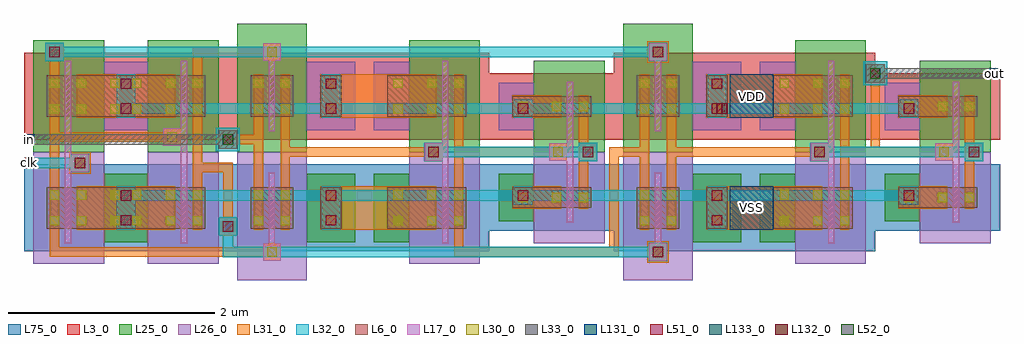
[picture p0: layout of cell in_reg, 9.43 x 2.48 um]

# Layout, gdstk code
from math import pi, radians
import gdstk
lib = gdstk.Library(unit=1e-6, precision=1e-09)
def R(c, l, rs):  # rectangles x0, y0, x1, y1
    for r in rs: c.add(gdstk.rectangle(r[:2], r[2:], *l))
L3_0 = (3, 0)
L6_0 = (6, 0)
L17_0 = (17, 0)
L25_0 = (25, 0)
L26_0 = (26, 0)
L30_0 = (30, 0)
L31_0 = (31, 0)
L32_0 = (32, 0)
L33_0 = (33, 0)
L51_0 = (51, 0)
L52_0 = (52, 0)
L75_0 = (75, 0)
L131_0 = (131, 0)
L132_0 = (132, 0)
L133_0 = (133, 0)

nch_cdns_683539849480 = lib.new_cell('nch_CDNS_683539849480')
R(nch_cdns_683539849480, L6_0, [(-0.53,0,-0.32,0.2), (-0.32,0,0,0.2), (0,0,0.06,0.2), (0.06,0,0.235,0.2)])
R(nch_cdns_683539849480, L17_0, [(0,-0.14,0.06,0), (0,0,0.06,0.2), (0,0.2,0.06,0.34)])
R(nch_cdns_683539849480, L25_0, [(-0.66,-0.13,-0.32,0.33)])
R(nch_cdns_683539849480, L26_0, [(-0.32,-0.34,0.365,0.54)])
R(nch_cdns_683539849480, L30_0, [(-0.47,0.055,-0.38,0.145), (-0.145,0.055,-0.055,0.145), (0.115,0.055,0.205,0.145)])
R(nch_cdns_683539849480, L31_0, [(-0.32,-0.01,-0.145,0.21), (-0.145,-0.01,-0.055,0.21), (0.115,-0.01,0.205,0.21)])
R(nch_cdns_683539849480, L75_0, [(-0.75,-0.22,0.455,0.42)])
nch_cdns_683539849480.add(gdstk.FlexPath([(-0.425,-0.01),(-0.425,0.21)], 0.21, ends="flush", simple_path=True, layer=31, datatype=0))  # L31_0
nch_cdns_683539849480.add(gdstk.Label('& SerialNumber 000000', (0,0), layer=63, texttype=63))
nch_cdns_683539849480.add(gdstk.Label('& Distributor TSMC', (0,0), layer=63, texttype=63))
nch_cdns_683539849480.add(gdstk.Label('& Metric 1', (0,0), layer=63, texttype=63))
nch_cdns_683539849480.add(gdstk.Label('& PDK TechNode "CRN65LP"', (0,0), layer=63, texttype=63))
nch_cdns_683539849480.add(gdstk.Label('& Product    tsmcN65_PDK', (0,0), layer=63, texttype=63))
nch_cdns_683539849480.add(gdstk.Label('& Vendor     Taiwan Semiconductor manufacturing Corp.', (0,0), layer=63, texttype=63))
nch_cdns_683539849480.add(gdstk.Label('[@instanceName]', (0.03,0.1), layer=127, texttype=0))
nch_cdns_683539849480.add(gdstk.Label('nch\n0.2/0.06\n', (0,0), layer=127, texttype=0))
nch_cdns_683539849480.add(gdstk.Label('B', (-0.425,0.1), layer=127, texttype=0))
nch_cdns_683539849480.add(gdstk.Label('D', (0.16,0.1), layer=127, texttype=0))
nch_cdns_683539849480.add(gdstk.Label('S', (-0.1,0.1), layer=127, texttype=0))

pch_cdns_683539849481 = lib.new_cell('pch_CDNS_683539849481')
R(pch_cdns_683539849481, L3_0, [(-0.75,-0.22,0.455,0.62)])
R(pch_cdns_683539849481, L6_0, [(-0.53,0,-0.32,0.4), (-0.32,0,0,0.4), (0,0,0.06,0.4), (0.06,0,0.235,0.4)])
R(pch_cdns_683539849481, L17_0, [(0,-0.14,0.06,0), (0,0,0.06,0.4), (0,0.4,0.06,0.54)])
R(pch_cdns_683539849481, L25_0, [(-0.32,-0.34,0.365,0.74)])
R(pch_cdns_683539849481, L26_0, [(-0.66,-0.13,-0.32,0.53)])
R(pch_cdns_683539849481, L30_0, [(-0.47,0.03,-0.38,0.12), (-0.145,0.03,-0.055,0.12), (0.115,0.03,0.205,0.12), (-0.47,0.28,-0.38,0.37), (-0.145,0.28,-0.055,0.37), (0.115,0.28,0.205,0.37)])
R(pch_cdns_683539849481, L31_0, [(-0.32,-0.01,-0.145,0.41), (-0.145,-0.01,-0.055,0.41), (0.115,-0.01,0.205,0.41)])
pch_cdns_683539849481.add(gdstk.FlexPath([(-0.425,-0.01),(-0.425,0.41)], 0.21, ends="flush", simple_path=True, layer=31, datatype=0))  # L31_0
pch_cdns_683539849481.add(gdstk.Label('& SerialNumber 000000', (0,0), layer=63, texttype=63))
pch_cdns_683539849481.add(gdstk.Label('& Distributor TSMC', (0,0), layer=63, texttype=63))
pch_cdns_683539849481.add(gdstk.Label('& Metric 1', (0,0), layer=63, texttype=63))
pch_cdns_683539849481.add(gdstk.Label('& PDK TechNode "CRN65LP"', (0,0), layer=63, texttype=63))
pch_cdns_683539849481.add(gdstk.Label('& Product    tsmcN65_PDK', (0,0), layer=63, texttype=63))
pch_cdns_683539849481.add(gdstk.Label('& Vendor     Taiwan Semiconductor manufacturing Corp.', (0,0), layer=63, texttype=63))
pch_cdns_683539849481.add(gdstk.Label('[@instanceName]', (0.03,0.2), layer=127, texttype=0))
pch_cdns_683539849481.add(gdstk.Label('pch\n0.4/0.06\n', (0,0), layer=127, texttype=0))
pch_cdns_683539849481.add(gdstk.Label('B', (-0.425,0.2), layer=127, texttype=0))
pch_cdns_683539849481.add(gdstk.Label('D', (0.16,0.2), layer=127, texttype=0))
pch_cdns_683539849481.add(gdstk.Label('S', (-0.1,0.2), layer=127, texttype=0))

nch_cdns_683539849482 = lib.new_cell('nch_CDNS_683539849482')
R(nch_cdns_683539849482, L6_0, [(-0.53,0,-0.32,0.4), (-0.32,0,0,0.4), (0,0,0.06,0.4), (0.06,0,0.235,0.4)])
R(nch_cdns_683539849482, L17_0, [(0,-0.14,0.06,0), (0,0,0.06,0.4), (0,0.4,0.06,0.54)])
R(nch_cdns_683539849482, L25_0, [(-0.66,-0.13,-0.32,0.53)])
R(nch_cdns_683539849482, L26_0, [(-0.32,-0.34,0.365,0.74)])
R(nch_cdns_683539849482, L30_0, [(-0.47,0.03,-0.38,0.12), (-0.145,0.03,-0.055,0.12), (0.115,0.03,0.205,0.12), (-0.47,0.28,-0.38,0.37), (-0.145,0.28,-0.055,0.37), (0.115,0.28,0.205,0.37)])
R(nch_cdns_683539849482, L31_0, [(-0.32,-0.01,-0.145,0.41), (-0.145,-0.01,-0.055,0.41), (0.115,-0.01,0.205,0.41)])
R(nch_cdns_683539849482, L75_0, [(-0.75,-0.22,0.455,0.62)])
nch_cdns_683539849482.add(gdstk.FlexPath([(-0.425,-0.01),(-0.425,0.41)], 0.21, ends="flush", simple_path=True, layer=31, datatype=0))  # L31_0
nch_cdns_683539849482.add(gdstk.Label('& SerialNumber 000000', (0,0), layer=63, texttype=63))
nch_cdns_683539849482.add(gdstk.Label('& Distributor TSMC', (0,0), layer=63, texttype=63))
nch_cdns_683539849482.add(gdstk.Label('& Metric 1', (0,0), layer=63, texttype=63))
nch_cdns_683539849482.add(gdstk.Label('& PDK TechNode "CRN65LP"', (0,0), layer=63, texttype=63))
nch_cdns_683539849482.add(gdstk.Label('& Product    tsmcN65_PDK', (0,0), layer=63, texttype=63))
nch_cdns_683539849482.add(gdstk.Label('& Vendor     Taiwan Semiconductor manufacturing Corp.', (0,0), layer=63, texttype=63))
nch_cdns_683539849482.add(gdstk.Label('[@instanceName]', (0.03,0.2), layer=127, texttype=0))
nch_cdns_683539849482.add(gdstk.Label('nch\n0.4/0.06\n', (0,0), layer=127, texttype=0))
nch_cdns_683539849482.add(gdstk.Label('B', (-0.425,0.2), layer=127, texttype=0))
nch_cdns_683539849482.add(gdstk.Label('D', (0.16,0.2), layer=127, texttype=0))
nch_cdns_683539849482.add(gdstk.Label('S', (-0.1,0.2), layer=127, texttype=0))

pch_cdns_683539849483 = lib.new_cell('pch_CDNS_683539849483')
R(pch_cdns_683539849483, L3_0, [(-0.75,-0.22,0.455,0.42)])
R(pch_cdns_683539849483, L6_0, [(-0.53,0,-0.32,0.2), (-0.32,0,0,0.2), (0,0,0.06,0.2), (0.06,0,0.235,0.2)])
R(pch_cdns_683539849483, L17_0, [(0,-0.14,0.06,0), (0,0,0.06,0.2), (0,0.2,0.06,0.34)])
R(pch_cdns_683539849483, L25_0, [(-0.32,-0.34,0.365,0.54)])
R(pch_cdns_683539849483, L26_0, [(-0.66,-0.13,-0.32,0.33)])
R(pch_cdns_683539849483, L30_0, [(-0.47,0.055,-0.38,0.145), (-0.145,0.055,-0.055,0.145), (0.115,0.055,0.205,0.145)])
R(pch_cdns_683539849483, L31_0, [(-0.32,-0.01,-0.145,0.21), (-0.145,-0.01,-0.055,0.21), (0.115,-0.01,0.205,0.21)])
pch_cdns_683539849483.add(gdstk.FlexPath([(-0.425,-0.01),(-0.425,0.21)], 0.21, ends="flush", simple_path=True, layer=31, datatype=0))  # L31_0
pch_cdns_683539849483.add(gdstk.Label('& SerialNumber 000000', (0,0), layer=63, texttype=63))
pch_cdns_683539849483.add(gdstk.Label('& Distributor TSMC', (0,0), layer=63, texttype=63))
pch_cdns_683539849483.add(gdstk.Label('& Metric 1', (0,0), layer=63, texttype=63))
pch_cdns_683539849483.add(gdstk.Label('& PDK TechNode "CRN65LP"', (0,0), layer=63, texttype=63))
pch_cdns_683539849483.add(gdstk.Label('& Product    tsmcN65_PDK', (0,0), layer=63, texttype=63))
pch_cdns_683539849483.add(gdstk.Label('& Vendor     Taiwan Semiconductor manufacturing Corp.', (0,0), layer=63, texttype=63))
pch_cdns_683539849483.add(gdstk.Label('[@instanceName]', (0.03,0.1), layer=127, texttype=0))
pch_cdns_683539849483.add(gdstk.Label('pch\n0.2/0.06\n', (0,0), layer=127, texttype=0))
pch_cdns_683539849483.add(gdstk.Label('B', (-0.425,0.1), layer=127, texttype=0))
pch_cdns_683539849483.add(gdstk.Label('D', (0.16,0.1), layer=127, texttype=0))
pch_cdns_683539849483.add(gdstk.Label('S', (-0.1,0.1), layer=127, texttype=0))

pch_cdns_683539849484 = lib.new_cell('pch_CDNS_683539849484')
R(pch_cdns_683539849484, L3_0, [(-0.865,-0.22,0.455,0.62)])
R(pch_cdns_683539849484, L6_0, [(-0.645,0,-0.435,0.4), (-0.175,0,0,0.4), (0,0,0.06,0.4), (0.06,0,0.235,0.4)])
R(pch_cdns_683539849484, L17_0, [(0,-0.14,0.06,0), (0,0,0.06,0.4), (0,0.4,0.06,0.54)])
R(pch_cdns_683539849484, L25_0, [(-0.305,-0.34,0.365,0.74)])
R(pch_cdns_683539849484, L26_0, [(-0.775,-0.13,-0.305,0.53)])
R(pch_cdns_683539849484, L30_0, [(-0.585,0.03,-0.495,0.12), (-0.145,0.03,-0.055,0.12), (0.115,0.03,0.205,0.12), (-0.585,0.28,-0.495,0.37), (-0.145,0.28,-0.055,0.37), (0.115,0.28,0.205,0.37)])
R(pch_cdns_683539849484, L31_0, [(-0.145,-0.01,-0.055,0.41), (0.115,-0.01,0.205,0.41)])
pch_cdns_683539849484.add(gdstk.FlexPath([(-0.54,-0.01),(-0.54,0.41)], 0.21, ends="flush", simple_path=True, layer=31, datatype=0))  # L31_0
pch_cdns_683539849484.add(gdstk.Label('& SerialNumber 000000', (0,0), layer=63, texttype=63))
pch_cdns_683539849484.add(gdstk.Label('& Distributor TSMC', (0,0), layer=63, texttype=63))
pch_cdns_683539849484.add(gdstk.Label('& Metric 1', (0,0), layer=63, texttype=63))
pch_cdns_683539849484.add(gdstk.Label('& PDK TechNode "CRN65LP"', (0,0), layer=63, texttype=63))
pch_cdns_683539849484.add(gdstk.Label('& Product    tsmcN65_PDK', (0,0), layer=63, texttype=63))
pch_cdns_683539849484.add(gdstk.Label('& Vendor     Taiwan Semiconductor manufacturing Corp.', (0,0), layer=63, texttype=63))
pch_cdns_683539849484.add(gdstk.Label('[@instanceName]', (0.03,0.2), layer=127, texttype=0))
pch_cdns_683539849484.add(gdstk.Label('pch\n0.4/0.06\n', (0,0), layer=127, texttype=0))
pch_cdns_683539849484.add(gdstk.Label('B', (-0.54,0.2), layer=127, texttype=0))
pch_cdns_683539849484.add(gdstk.Label('D', (0.16,0.2), layer=127, texttype=0))
pch_cdns_683539849484.add(gdstk.Label('S', (-0.1,0.2), layer=127, texttype=0))

nch_cdns_683539849485 = lib.new_cell('nch_CDNS_683539849485')
R(nch_cdns_683539849485, L6_0, [(-0.645,0,-0.435,0.4), (-0.175,0,0,0.4), (0,0,0.06,0.4), (0.06,0,0.235,0.4)])
R(nch_cdns_683539849485, L17_0, [(0,-0.14,0.06,0), (0,0,0.06,0.4), (0,0.4,0.06,0.54)])
R(nch_cdns_683539849485, L25_0, [(-0.775,-0.13,-0.305,0.53)])
R(nch_cdns_683539849485, L26_0, [(-0.305,-0.34,0.365,0.74)])
R(nch_cdns_683539849485, L30_0, [(-0.585,0.03,-0.495,0.12), (-0.145,0.03,-0.055,0.12), (0.115,0.03,0.205,0.12), (-0.585,0.28,-0.495,0.37), (-0.145,0.28,-0.055,0.37), (0.115,0.28,0.205,0.37)])
R(nch_cdns_683539849485, L31_0, [(-0.145,-0.01,-0.055,0.41), (0.115,-0.01,0.205,0.41)])
R(nch_cdns_683539849485, L75_0, [(-0.865,-0.22,0.455,0.62)])
nch_cdns_683539849485.add(gdstk.FlexPath([(-0.54,-0.01),(-0.54,0.41)], 0.21, ends="flush", simple_path=True, layer=31, datatype=0))  # L31_0
nch_cdns_683539849485.add(gdstk.Label('& SerialNumber 000000', (0,0), layer=63, texttype=63))
nch_cdns_683539849485.add(gdstk.Label('& Distributor TSMC', (0,0), layer=63, texttype=63))
nch_cdns_683539849485.add(gdstk.Label('& Metric 1', (0,0), layer=63, texttype=63))
nch_cdns_683539849485.add(gdstk.Label('& PDK TechNode "CRN65LP"', (0,0), layer=63, texttype=63))
nch_cdns_683539849485.add(gdstk.Label('& Product    tsmcN65_PDK', (0,0), layer=63, texttype=63))
nch_cdns_683539849485.add(gdstk.Label('& Vendor     Taiwan Semiconductor manufacturing Corp.', (0,0), layer=63, texttype=63))
nch_cdns_683539849485.add(gdstk.Label('[@instanceName]', (0.03,0.2), layer=127, texttype=0))
nch_cdns_683539849485.add(gdstk.Label('nch\n0.4/0.06\n', (0,0), layer=127, texttype=0))
nch_cdns_683539849485.add(gdstk.Label('B', (-0.54,0.2), layer=127, texttype=0))
nch_cdns_683539849485.add(gdstk.Label('D', (0.16,0.2), layer=127, texttype=0))
nch_cdns_683539849485.add(gdstk.Label('S', (-0.1,0.2), layer=127, texttype=0))

m1_po_cdns_683539849480 = lib.new_cell('M1_PO_CDNS_683539849480')
R(m1_po_cdns_683539849480, L17_0, [(-0.085,-0.085,0.085,0.085)])
R(m1_po_cdns_683539849480, L30_0, [(-0.045,-0.045,0.045,0.045)])
R(m1_po_cdns_683539849480, L31_0, [(-0.085,-0.085,0.085,0.085)])

m2_m1_cdns_683539849481 = lib.new_cell('M2_M1_CDNS_683539849481')
R(m2_m1_cdns_683539849481, L31_0, [(-0.09,-0.09,0.09,0.09)])
R(m2_m1_cdns_683539849481, L32_0, [(-0.09,-0.09,0.09,0.09)])
R(m2_m1_cdns_683539849481, L51_0, [(-0.05,-0.05,0.05,0.05)])

m2_m1_cdns_683539849482 = lib.new_cell('M2_M1_CDNS_683539849482')
R(m2_m1_cdns_683539849482, L31_0, [(-0.105,-0.105,0.105,0.105)])
R(m2_m1_cdns_683539849482, L32_0, [(-0.09,-0.09,0.09,0.09)])
R(m2_m1_cdns_683539849482, L51_0, [(-0.05,-0.05,0.05,0.05)])

m1_po_cdns_683539849483 = lib.new_cell('M1_PO_CDNS_683539849483')
R(m1_po_cdns_683539849483, L17_0, [(-0.085,-0.085,0.085,0.085)])
R(m1_po_cdns_683539849483, L30_0, [(-0.045,-0.045,0.045,0.045)])
R(m1_po_cdns_683539849483, L31_0, [(-0.105,-0.105,0.105,0.105)])

m3_m2_cdns_683539849484 = lib.new_cell('M3_M2_CDNS_683539849484')
R(m3_m2_cdns_683539849484, L32_0, [(-0.115,-0.115,0.115,0.115)])
R(m3_m2_cdns_683539849484, L33_0, [(-0.09,-0.09,0.09,0.09)])
R(m3_m2_cdns_683539849484, L52_0, [(-0.05,-0.05,0.05,0.05)])

m2_m1_cdns_683539849485 = lib.new_cell('M2_M1_CDNS_683539849485')
R(m2_m1_cdns_683539849485, L31_0, [(-0.09,-0.09,0.09,0.09)])
R(m2_m1_cdns_683539849485, L32_0, [(-0.115,-0.115,0.115,0.115)])
R(m2_m1_cdns_683539849485, L51_0, [(-0.05,-0.05,0.05,0.05)])

in_reg = lib.new_cell('in_reg')
R(in_reg, L25_0, [(2.06,2.32,2.73,2.48), (5.79,2.32,6.46,2.48)])
R(in_reg, L26_0, [(2.06,0,2.73,0.16), (5.79,0,6.46,0.16)])
R(in_reg, L32_0, [(0.895,0.49,1.075,0.91), (2.875,0.49,3.055,0.91), (6.605,0.49,6.785,0.91), (0.895,1.57,1.075,1.99), (2.875,1.57,3.055,1.99), (6.605,1.57,6.785,1.99)])
R(in_reg, L131_0, [(6.82,0.49,7.24,0.91), (6.82,1.57,7.24,1.99)])
R(in_reg, L132_0, [(0,1.085,0.1,1.185), (6.695,1.61,6.795,1.71)])
R(in_reg, L133_0, [(0,1.31,0.1,1.41), (9.33,1.95,9.43,2.05)])
in_reg.add(gdstk.FlexPath([(5.275,1.44),(5.275,1.04)], 0.06, ends="flush", simple_path=True, layer=17, datatype=0))  # L17_0
in_reg.add(gdstk.FlexPath([(9.005,1.44),(9.005,1.04)], 0.06, ends="flush", simple_path=True, layer=17, datatype=0))  # L17_0
in_reg.add(gdstk.FlexPath([(7.8,1.44),(7.8,1.04)], 0.06, ends="flush", simple_path=True, layer=17, datatype=0))  # L17_0
in_reg.add(gdstk.FlexPath([(0.425,1.44),(0.425,1.04)], 0.06, ends="flush", simple_path=True, layer=17, datatype=0))  # L17_0
in_reg.add(gdstk.FlexPath([(1.545,1.44),(1.545,1.04)], 0.06, ends="flush", simple_path=True, layer=17, datatype=0))  # L17_0
in_reg.add(gdstk.FlexPath([(4.07,1.44),(4.07,1.04)], 0.06, ends="flush", simple_path=True, layer=17, datatype=0))  # L17_0
in_reg.add(gdstk.FlexPath([(5.995,1.57),(5.995,1.24)], 0.09, ends=(0, 0.045), simple_path=True, layer=31, datatype=0))  # L31_0
in_reg.add(gdstk.FlexPath([(5.7,1.24),(5.995,1.24)], 0.09, ends="extended", simple_path=True, layer=31, datatype=0))  # L31_0
in_reg.add(gdstk.FlexPath([(5.7,0.275),(5.7,1.24)], 0.09, ends="extended", simple_path=True, layer=31, datatype=0))  # L31_0
in_reg.add(gdstk.FlexPath([(4.2,0.275),(5.7,0.275)], 0.09, ends="extended", simple_path=True, layer=31, datatype=0))  # L31_0
in_reg.add(gdstk.FlexPath([(4.2,0.49),(4.2,0.275)], 0.09, ends=(0, 0.045), simple_path=True, layer=31, datatype=0))  # L31_0
in_reg.add(gdstk.FlexPath([(8.89,1.24),(8.225,1.24)], 0.09, ends=(0, 0.045), simple_path=True, layer=31, datatype=0))  # L31_0
in_reg.add(gdstk.FlexPath([(8.225,1.24),(8.225,2)], 0.09, ends=(0.045, 0), simple_path=True, layer=31, datatype=0))  # L31_0
in_reg.add(gdstk.FlexPath([(2.265,1.57),(2.265,1.36)], 0.09, ends=(0, 0.045), simple_path=True, layer=31, datatype=0))  # L31_0
in_reg.add(gdstk.FlexPath([(2.265,1.36),(2.265,0.91)], 0.09, ends=(0.045, 0), simple_path=True, layer=31, datatype=0))  # L31_0
in_reg.add(gdstk.FlexPath([(1.97,1.09),(1.97,0.52)], 0.09, ends=(0.045, 0), simple_path=True, layer=31, datatype=0))  # L31_0
in_reg.add(gdstk.FlexPath([(1.675,1.09),(1.97,1.09)], 0.09, ends="extended", simple_path=True, layer=31, datatype=0))  # L31_0
in_reg.add(gdstk.FlexPath([(0.295,1.965),(0.295,2.205)], 0.09, ends="flush", simple_path=True, layer=31, datatype=0))  # L31_0
in_reg.add(gdstk.FlexPath([(1.675,2.205),(1.675,1.99)], 0.09, ends=(0.045, 0), simple_path=True, layer=31, datatype=0))  # L31_0
in_reg.add(gdstk.FlexPath([(0.295,0.275),(0.295,0.49)], 0.09, ends=(0.045, 0), simple_path=True, layer=31, datatype=0))  # L31_0
in_reg.add(gdstk.FlexPath([(2.395,2.205),(1.675,2.205)], 0.09, ends=(0, 0.045), simple_path=True, layer=31, datatype=0))  # L31_0
in_reg.add(gdstk.FlexPath([(1.675,1.09),(1.675,1.57)], 0.09, ends=(0.045, 0), simple_path=True, layer=31, datatype=0))  # L31_0
in_reg.add(gdstk.FlexPath([(2.395,0.275),(0.295,0.275)], 0.09, ends=(0, 0.045), simple_path=True, layer=31, datatype=0))  # L31_0
in_reg.add(gdstk.FlexPath([(6.255,1.57),(6.255,1.24)], 0.09, ends=(0, 0.045), simple_path=True, layer=31, datatype=0))  # L31_0
in_reg.add(gdstk.FlexPath([(4.2,1.57),(4.2,1.24)], 0.09, ends=(0, 0.045), simple_path=True, layer=31, datatype=0))  # L31_0
in_reg.add(gdstk.FlexPath([(5.16,1.24),(4.2,1.24)], 0.09, ends=(0, 0.045), simple_path=True, layer=31, datatype=0))  # L31_0
in_reg.add(gdstk.FlexPath([(2.525,1.57),(2.525,1.24)], 0.09, ends=(0, 0.045), simple_path=True, layer=31, datatype=0))  # L31_0
in_reg.add(gdstk.FlexPath([(3.955,1.24),(2.525,1.24)], 0.09, ends=(0, 0.045), simple_path=True, layer=31, datatype=0))  # L31_0
in_reg.add(gdstk.FlexPath([(2.525,1.24),(2.525,0.91)], 0.09, ends=(0.045, 0), simple_path=True, layer=31, datatype=0))  # L31_0
in_reg.add(gdstk.FlexPath([(2.265,1.36),(1.97,1.36)], 0.09, ends=(0.045, 0), simple_path=True, layer=31, datatype=0))  # L31_0
in_reg.add(gdstk.FlexPath([(5.405,1.57),(5.405,0.91)], 0.09, ends="flush", simple_path=True, layer=31, datatype=0))  # L31_0
in_reg.add(gdstk.FlexPath([(9.135,1.57),(9.135,0.91)], 0.09, ends="flush", simple_path=True, layer=31, datatype=0))  # L31_0
in_reg.add(gdstk.FlexPath([(7.93,1.24),(7.93,1.57)], 0.09, ends=(0.045, 0), simple_path=True, layer=31, datatype=0))  # L31_0
in_reg.add(gdstk.FlexPath([(4.2,1.24),(4.2,0.91)], 0.09, ends=(0.045, 0), simple_path=True, layer=31, datatype=0))  # L31_0
in_reg.add(gdstk.FlexPath([(0.295,1.385),(0.295,0.91)], 0.09, ends=(0.045, 0), simple_path=True, layer=31, datatype=0))  # L31_0
in_reg.add(gdstk.FlexPath([(1.675,0.91),(1.675,1.09)], 0.09, ends=(0, 0.045), simple_path=True, layer=31, datatype=0))  # L31_0
in_reg.add(gdstk.FlexPath([(7.93,1.24),(7.93,0.91)], 0.09, ends=(0.045, 0), simple_path=True, layer=31, datatype=0))  # L31_0
in_reg.add(gdstk.FlexPath([(8.225,1.24),(7.93,1.24)], 0.09, ends="extended", simple_path=True, layer=31, datatype=0))  # L31_0
in_reg.add(gdstk.FlexPath([(6.8,1.78),(7.24,1.78)], 0.42, ends="flush", simple_path=True, layer=31, datatype=0))  # L31_0
in_reg.add(gdstk.FlexPath([(7.685,1.24),(6.255,1.24)], 0.09, ends=(0, 0.045), simple_path=True, layer=31, datatype=0))  # L31_0
in_reg.add(gdstk.FlexPath([(7.24,0.7),(6.8,0.7)], 0.42, ends="flush", simple_path=True, layer=31, datatype=0))  # L31_0
in_reg.add(gdstk.FlexPath([(1.43,1.385),(0.295,1.385)], 0.09, ends=(0, 0.045), simple_path=True, layer=31, datatype=0))  # L31_0
in_reg.add(gdstk.FlexPath([(0.295,1.57),(0.295,1.385)], 0.09, ends=(0, 0.045), simple_path=True, layer=31, datatype=0))  # L31_0
in_reg.add(gdstk.FlexPath([(5.995,1.24),(5.995,0.91)], 0.09, ends=(0.045, 0), simple_path=True, layer=31, datatype=0))  # L31_0
in_reg.add(gdstk.FlexPath([(6.255,1.24),(6.255,0.91)], 0.09, ends=(0.045, 0), simple_path=True, layer=31, datatype=0))  # L31_0
in_reg.add(gdstk.FlexPath([(3.07,1.78),(3.51,1.78)], 0.42, ends="flush", simple_path=True, layer=31, datatype=0))  # L31_0
in_reg.add(gdstk.FlexPath([(3.07,0.7),(3.51,0.7)], 0.42, ends="flush", simple_path=True, layer=31, datatype=0))  # L31_0
in_reg.add(gdstk.FlexPath([(0.54,1.135),(0,1.135)], 0.1, ends="flush", simple_path=True, layer=32, datatype=0))  # L32_0
in_reg.add(gdstk.FlexPath([(1.97,0.275),(1.97,0.57)], 0.1, ends=(0.05, 0), simple_path=True, layer=32, datatype=0))  # L32_0
in_reg.add(gdstk.FlexPath([(0.295,2.205),(6.125,2.205)], 0.1, ends="flush", simple_path=True, layer=32, datatype=0))  # L32_0
in_reg.add(gdstk.FlexPath([(6.125,0.275),(1.97,0.275)], 0.1, ends=(0, 0.05), simple_path=True, layer=32, datatype=0))  # L32_0
in_reg.add(gdstk.FlexPath([(6.695,1.66),(8.55,1.66)], 0.1, ends="flush", simple_path=True, layer=32, datatype=0))  # L32_0
in_reg.add(gdstk.FlexPath([(4.82,0.82),(2.965,0.82)], 0.1, ends="flush", simple_path=True, layer=32, datatype=0))  # L32_0
in_reg.add(gdstk.FlexPath([(4.82,1.66),(6.695,1.66)], 0.1, ends="flush", simple_path=True, layer=32, datatype=0))  # L32_0
in_reg.add(gdstk.FlexPath([(2.965,1.66),(4.82,1.66)], 0.1, ends="flush", simple_path=True, layer=32, datatype=0))  # L32_0
in_reg.add(gdstk.FlexPath([(6.695,0.82),(8.55,0.82)], 0.1, ends="flush", simple_path=True, layer=32, datatype=0))  # L32_0
in_reg.add(gdstk.FlexPath([(9.18,1.24),(7.685,1.24)], 0.1, ends="flush", simple_path=True, layer=32, datatype=0))  # L32_0
in_reg.add(gdstk.FlexPath([(5.45,1.24),(3.955,1.24)], 0.1, ends="flush", simple_path=True, layer=32, datatype=0))  # L32_0
in_reg.add(gdstk.FlexPath([(0.985,0.82),(2.965,0.82)], 0.1, ends="flush", simple_path=True, layer=32, datatype=0))  # L32_0
in_reg.add(gdstk.FlexPath([(0.985,1.66),(2.965,1.66)], 0.1, ends="flush", simple_path=True, layer=32, datatype=0))  # L32_0
in_reg.add(gdstk.FlexPath([(4.82,0.82),(6.695,0.82)], 0.1, ends="flush", simple_path=True, layer=32, datatype=0))  # L32_0
in_reg.add(gdstk.FlexPath([(8.225,2),(9.43,2)], 0.1, ends="flush", simple_path=True, layer=33, datatype=0))  # L33_0
in_reg.add(gdstk.FlexPath([(1.97,1.36),(0,1.36)], 0.1, ends="flush", simple_path=True, layer=33, datatype=0))  # L33_0
in_reg.add(gdstk.Reference(nch_cdns_683539849480, (8.975,0.7)))
in_reg.add(gdstk.Reference(nch_cdns_683539849480, (5.245,0.7)))
in_reg.add(gdstk.Reference(pch_cdns_683539849481, (0.455,1.58), rotation=pi, x_reflection=True))
in_reg.add(gdstk.Reference(pch_cdns_683539849481, (1.515,1.58)))
in_reg.add(gdstk.Reference(pch_cdns_683539849481, (7.77,1.58)))
in_reg.add(gdstk.Reference(pch_cdns_683539849481, (4.04,1.58)))
in_reg.add(gdstk.Reference(nch_cdns_683539849482, (1.515,0.5)))
in_reg.add(gdstk.Reference(nch_cdns_683539849482, (0.455,0.5), rotation=pi, x_reflection=True))
in_reg.add(gdstk.Reference(nch_cdns_683539849482, (7.77,0.5)))
in_reg.add(gdstk.Reference(nch_cdns_683539849482, (4.04,0.5)))
in_reg.add(gdstk.Reference(pch_cdns_683539849483, (5.245,1.58)))
in_reg.add(gdstk.Reference(pch_cdns_683539849483, (8.975,1.58)))
in_reg.add(gdstk.Reference(pch_cdns_683539849484, (2.425,1.58), rotation=pi, x_reflection=True))
in_reg.add(gdstk.Reference(pch_cdns_683539849484, (6.155,1.58), rotation=pi, x_reflection=True))
in_reg.add(gdstk.Reference(nch_cdns_683539849485, (6.155,0.5), rotation=pi, x_reflection=True))
in_reg.add(gdstk.Reference(nch_cdns_683539849485, (2.425,0.5), rotation=pi, x_reflection=True))
in_reg.add(gdstk.Reference(m1_po_cdns_683539849480, (2.395,0.275)))
in_reg.add(gdstk.Reference(m1_po_cdns_683539849480, (2.395,2.205)))
in_reg.add(gdstk.Reference(m1_po_cdns_683539849480, (7.685,1.24)))
in_reg.add(gdstk.Reference(m1_po_cdns_683539849480, (8.89,1.24)))
in_reg.add(gdstk.Reference(m1_po_cdns_683539849480, (5.16,1.24)))
in_reg.add(gdstk.Reference(m1_po_cdns_683539849480, (3.955,1.24)))
in_reg.add(gdstk.Reference(m1_po_cdns_683539849480, (1.43,1.385)))
in_reg.add(gdstk.Reference(m2_m1_cdns_683539849481, (1.97,0.52)))
in_reg.add(gdstk.Reference(m2_m1_cdns_683539849481, (0.295,2.205)))
in_reg.add(gdstk.Reference(m2_m1_cdns_683539849481, (6.695,0.58)))
in_reg.add(gdstk.Reference(m2_m1_cdns_683539849481, (6.695,1.9)))
in_reg.add(gdstk.Reference(m2_m1_cdns_683539849481, (2.965,0.58)))
in_reg.add(gdstk.Reference(m2_m1_cdns_683539849481, (2.965,1.9)))
in_reg.add(gdstk.Reference(m2_m1_cdns_683539849481, (0.985,0.58)))
in_reg.add(gdstk.Reference(m2_m1_cdns_683539849481, (0.985,1.9)))
in_reg.add(gdstk.Reference(m2_m1_cdns_683539849481, (6.695,1.66)))
in_reg.add(gdstk.Reference(m2_m1_cdns_683539849481, (8.55,1.66)))
in_reg.add(gdstk.Reference(m2_m1_cdns_683539849481, (4.82,0.82)))
in_reg.add(gdstk.Reference(m2_m1_cdns_683539849481, (2.965,0.82)))
in_reg.add(gdstk.Reference(m2_m1_cdns_683539849481, (8.55,0.82)))
in_reg.add(gdstk.Reference(m2_m1_cdns_683539849481, (6.695,0.82)))
in_reg.add(gdstk.Reference(m2_m1_cdns_683539849481, (0.985,0.82)))
in_reg.add(gdstk.Reference(m2_m1_cdns_683539849481, (2.965,1.66)))
in_reg.add(gdstk.Reference(m2_m1_cdns_683539849481, (4.82,1.66)))
in_reg.add(gdstk.Reference(m2_m1_cdns_683539849481, (0.985,1.66)))
in_reg.add(gdstk.Reference(m2_m1_cdns_683539849481, (9.18,1.24)))
in_reg.add(gdstk.Reference(m2_m1_cdns_683539849481, (7.685,1.24)))
in_reg.add(gdstk.Reference(m2_m1_cdns_683539849481, (5.45,1.24)))
in_reg.add(gdstk.Reference(m2_m1_cdns_683539849481, (3.955,1.24)))
in_reg.add(gdstk.Reference(m2_m1_cdns_683539849482, (6.125,2.205)))
in_reg.add(gdstk.Reference(m2_m1_cdns_683539849482, (6.125,0.275)))
in_reg.add(gdstk.Reference(m2_m1_cdns_683539849482, (0.54,1.135)))
in_reg.add(gdstk.Reference(m1_po_cdns_683539849483, (6.125,2.205)))
in_reg.add(gdstk.Reference(m1_po_cdns_683539849483, (6.125,0.275)))
in_reg.add(gdstk.Reference(m1_po_cdns_683539849483, (0.54,1.135)))
in_reg.add(gdstk.Reference(m3_m2_cdns_683539849484, (8.225,2)))
in_reg.add(gdstk.Reference(m3_m2_cdns_683539849484, (1.97,1.36)))
in_reg.add(gdstk.Reference(m2_m1_cdns_683539849485, (8.225,2)))
in_reg.add(gdstk.Reference(m2_m1_cdns_683539849485, (1.97,1.36)))
in_reg.add(gdstk.Label('in', (0.05,1.36), layer=133, texttype=0))
in_reg.add(gdstk.Label('out', (9.38,2), layer=133, texttype=0))
in_reg.add(gdstk.Label('clk', (0.05,1.135), layer=132, texttype=0))
in_reg.add(gdstk.Label('VDD', (7.03,1.78), layer=131, texttype=0))
in_reg.add(gdstk.Label('VSS', (7.03,0.7), layer=131, texttype=0))

lib.write_gds('in_reg.gds')
